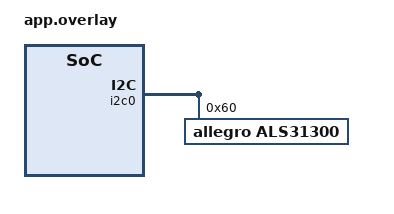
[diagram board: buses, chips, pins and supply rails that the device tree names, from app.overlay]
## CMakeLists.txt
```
# Copyright The Zephyr Project Contributors
# SPDX-License-Identifier: Apache-2.0

cmake_minimum_required(VERSION 3.28.0)
find_package(Zephyr REQUIRED HINTS $ENV{ZEPHYR_BASE})
project(als31300)

target_include_directories(app PRIVATE ${ZEPHYR_BASE}/drivers/sensor/als31300)
target_sources(app PRIVATE src/main.c)
```

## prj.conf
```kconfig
# Copyright The Zephyr Project Contributors
# SPDX-License-Identifier: Apache-2.0

CONFIG_ZTEST=y
CONFIG_SENSOR=y
CONFIG_SENSOR_ASYNC_API=y
CONFIG_EMUL=y
# The driver defines an I2C RTIO iodev
CONFIG_I2C_RTIO=y
# No emulator backs the device, only its decoder is tested
CONFIG_SENSOR_LOG_LEVEL_OFF=y
```

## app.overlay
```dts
/*
 * Copyright The Zephyr Project Contributors
 *
 * SPDX-License-Identifier: Apache-2.0
 */

&i2c0 {
	als31300: als31300@60 {
		compatible = "allegro,als31300";
		reg = <0x60>;
	};
};
```

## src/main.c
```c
/*
 * Copyright The Zephyr Project Contributors
 *
 * SPDX-License-Identifier: Apache-2.0
 */

#include <zephyr/drivers/sensor.h>
#include <zephyr/sys/byteorder.h>
#include <zephyr/ztest.h>

#include "als31300.h"

/* Allowed error of a decoded value, in micro-units (microgauss or micro-degrees Celsius) */
#define TOLERANCE_MICRO 100

#define TIMESTAMP_NS 1234567890123ULL

#define CHAN_BIT_X    BIT(0)
#define CHAN_BIT_Y    BIT(1)
#define CHAN_BIT_Z    BIT(2)
#define CHAN_BIT_TEMP BIT(3)
#define CHAN_BIT_ALL  (CHAN_BIT_X | CHAN_BIT_Y | CHAN_BIT_Z | CHAN_BIT_TEMP)

static const struct sensor_decoder_api *decoder = SENSOR_DECODER_DT_GET(DT_NODELABEL(als31300));

static const struct sensor_chan_spec chan_xyz = {SENSOR_CHAN_MAGN_XYZ, 0};
static const struct sensor_chan_spec chan_x = {SENSOR_CHAN_MAGN_X, 0};
static const struct sensor_chan_spec chan_y = {SENSOR_CHAN_MAGN_Y, 0};
static const struct sensor_chan_spec chan_z = {SENSOR_CHAN_MAGN_Z, 0};
static const struct sensor_chan_spec chan_temp = {SENSOR_CHAN_AMBIENT_TEMP, 0};

/* Encoded data at an odd address, to check that the decoder handles unaligned buffers */
static struct {
	uint8_t pad;
	struct als31300_encoded_data edata;
} __packed enc;

static const uint8_t *const buffer = (const uint8_t *)&enc.edata;

static int64_t q31_to_micro(q31_t value, int8_t shift)
{
	return ((int64_t)value * 1000000) >> (31 - shift);
}

static void check_magn(q31_t value, int8_t shift, int16_t raw)
{
	/* ALS31300-500: 4 LSB/G */
	int64_t expected = (int64_t)raw * 1000000 / 4;
	int64_t actual = q31_to_micro(value, shift);

	zassert_within(actual, expected, TOLERANCE_MICRO, "raw %d: got %lld, expected %lld", raw,
		       actual, expected);
}

static void check_temp(q31_t value, int8_t shift, uint16_t raw)
{
	/* T = 302 * (raw - 1708) / 4096 degrees Celsius */
	int64_t expected = (int64_t)302 * ((int32_t)raw - 1708) * 1000000 / 4096;
	int64_t actual = q31_to_micro(value, shift);

	zassert_within(actual, expected, TOLERANCE_MICRO, "raw %u: got %lld, expected %lld", raw,
		       actual, expected);
}

/* Fill the payload with registers 0x28 and 0x29 as read from the bus, MSB first */
static void fill(uint8_t channels, int16_t x, int16_t y, int16_t z, uint16_t temp)
{
	uint16_t ux = (uint16_t)x & 0xfffU;
	uint16_t uy = (uint16_t)y & 0xfffU;
	uint16_t uz = (uint16_t)z & 0xfffU;
	uint32_t reg28;
	uint32_t reg29;

	reg28 = FIELD_PREP(ALS31300_REG28_X_AXIS_MSB_MASK, ux >> 4) |
		FIELD_PREP(ALS31300_REG28_Y_AXIS_MSB_MASK, uy >> 4) |
		FIELD_PREP(ALS31300_REG28_Z_AXIS_MSB_MASK, uz >> 4) |
		FIELD_PREP(ALS31300_REG28_NEW_DATA_MASK, 1U) |
		FIELD_PREP(ALS31300_REG28_TEMP_MSB_MASK, temp >> 6);
	reg29 = FIELD_PREP(ALS31300_REG29_X_AXIS_LSB_MASK, ux & 0xfU) |
		FIELD_PREP(ALS31300_REG29_Y_AXIS_LSB_MASK, uy & 0xfU) |
		FIELD_PREP(ALS31300_REG29_Z_AXIS_LSB_MASK, uz & 0xfU) |
		FIELD_PREP(ALS31300_REG29_TEMP_LSB_MASK, temp & 0x3fU);

	memset(&enc, 0xa5, sizeof(enc));
	enc.edata.header.channels = channels;
	enc.edata.header.timestamp = TIMESTAMP_NS;
	sys_put_be32(reg28, &enc.edata.payload[0]);
	sys_put_be32(reg29, &enc.edata.payload[4]);
}

static void check_frame_count(struct sensor_chan_spec chan, int expected_rc)
{
	uint16_t frame_count = 0xffff;

	zassert_equal(decoder->get_frame_count(buffer, chan, &frame_count), expected_rc,
		      "channel %d", chan.chan_type);
	if (expected_rc == 0) {
		zassert_equal(frame_count, 1);
	}
}

static void check_unsupported(struct sensor_chan_spec chan)
{
	struct sensor_three_axis_data out;
	size_t base_size;
	size_t frame_size;
	uint16_t frame_count;
	uint32_t fit = 0;

	zassert_equal(decoder->get_size_info(chan, &base_size, &frame_size), -ENOTSUP,
		      "channel %d idx %d", chan.chan_type, chan.chan_idx);
	zassert_equal(decoder->get_frame_count(buffer, chan, &frame_count), -ENOTSUP,
		      "channel %d idx %d", chan.chan_type, chan.chan_idx);
	zassert_equal(decoder->decode(buffer, chan, &fit, 1, &out), -ENOTSUP, "channel %d idx %d",
		      chan.chan_type, chan.chan_idx);
}

/* Decode a single axis or the temperature, as a sensor_q31_data */
static q31_t decode_q31(struct sensor_chan_spec chan, int8_t *shift)
{
	struct sensor_q31_data out;
	uint32_t fit = 0;

	memset(&out, 0xa5, sizeof(out));
	zassert_equal(decoder->decode(buffer, chan, &fit, 1, &out), 1, "channel %d",
		      chan.chan_type);
	zassert_equal(out.header.reading_count, 1);
	zassert_equal(out.header.base_timestamp_ns + out.readings[0].timestamp_delta, TIMESTAMP_NS);
	zassert_equal(decoder->decode(buffer, chan, &fit, 1, &out), 0);
	*shift = out.shift;

	return out.readings[0].value;
}

static void check_sample(int16_t x, int16_t y, int16_t z, uint16_t temp)
{
	struct sensor_three_axis_data out;
	uint32_t fit = 0;
	int8_t shift;
	q31_t value;

	fill(CHAN_BIT_ALL, x, y, z, temp);

	memset(&out, 0xa5, sizeof(out));
	zassert_equal(decoder->decode(buffer, chan_xyz, &fit, 1, &out), 1);
	zassert_equal(out.header.reading_count, 1);
	zassert_equal(out.header.base_timestamp_ns, TIMESTAMP_NS);
	zassert_equal(out.readings[0].timestamp_delta, 0);
	zassert_equal(out.shift, 16);
	check_magn(out.readings[0].x, out.shift, x);
	check_magn(out.readings[0].y, out.shift, y);
	check_magn(out.readings[0].z, out.shift, z);

	value = decode_q31(chan_x, &shift);
	zassert_equal(shift, 16);
	check_magn(value, shift, x);

	value = decode_q31(chan_y, &shift);
	zassert_equal(shift, 16);
	check_magn(value, shift, y);

	value = decode_q31(chan_z, &shift);
	zassert_equal(shift, 16);
	check_magn(value, shift, z);

	value = decode_q31(chan_temp, &shift);
	zassert_equal(shift, 16);
	check_temp(value, shift, temp);
}

ZTEST(als31300_decoder, test_size_info)
{
	const struct sensor_chan_spec q31_chans[] = {chan_x, chan_y, chan_z, chan_temp};
	size_t base_size;
	size_t frame_size;

	zassert_ok(decoder->get_size_info(chan_xyz, &base_size, &frame_size));
	zassert_equal(base_size, sizeof(struct sensor_three_axis_data));
	zassert_equal(frame_size, sizeof(struct sensor_three_axis_sample_data));

	ARRAY_FOR_EACH(q31_chans, i) {
		zassert_ok(decoder->get_size_info(q31_chans[i], &base_size, &frame_size));
		zassert_equal(base_size, sizeof(struct sensor_q31_data));
		zassert_equal(frame_size, sizeof(struct sensor_q31_sample_data));
	}
}

ZTEST(als31300_decoder, test_values)
{
	check_sample(100, -200, 300, 1708);
	check_sample(-2048, 2047, -1, 0);
	check_sample(2047, -2048, 1, 4095);
	check_sample(0, 0, 0, 2048);
}

ZTEST(als31300_decoder, test_frame_count)
{
	fill(CHAN_BIT_ALL, 1, 2, 3, 1708);

	check_frame_count(chan_xyz, 0);
	check_frame_count(chan_x, 0);
	check_frame_count(chan_y, 0);
	check_frame_count(chan_z, 0);
	check_frame_count(chan_temp, 0);
}

ZTEST(als31300_decoder, test_channel_not_read)
{
	struct sensor_three_axis_data out;
	uint32_t fit = 0;
	int8_t shift;
	q31_t value;

	/* Only SENSOR_CHAN_MAGN_Y was requested in the read */
	fill(CHAN_BIT_Y, 10, -20, 30, 1708);

	check_frame_count(chan_y, 0);
	value = decode_q31(chan_y, &shift);
	check_magn(value, shift, -20);

	check_frame_count(chan_xyz, -ENODATA);
	check_frame_count(chan_x, -ENODATA);
	check_frame_count(chan_z, -ENODATA);
	check_frame_count(chan_temp, -ENODATA);

	zassert_equal(decoder->decode(buffer, chan_xyz, &fit, 1, &out), -ENODATA);
	zassert_equal(decoder->decode(buffer, chan_temp, &fit, 1, &out), -ENODATA);

	/* Only the temperature was requested */
	fill(CHAN_BIT_TEMP, 10, -20, 30, 1000);

	check_frame_count(chan_temp, 0);
	check_frame_count(chan_xyz, -ENODATA);
	value = decode_q31(chan_temp, &shift);
	check_temp(value, shift, 1000);
}

ZTEST(als31300_decoder, test_max_count)
{
	struct {
		struct sensor_three_axis_data data;
		struct sensor_three_axis_sample_data extra[3];
	} out;
	uint32_t fit = 0;

	fill(CHAN_BIT_ALL, -5, 6, -7, 1708);

	/* No reading fits */
	zassert_equal(decoder->decode(buffer, chan_xyz, &fit, 0, &out), 0);
	zassert_equal(fit, 0);

	/* All readings in one call */
	zassert_equal(decoder->decode(buffer, chan_xyz, &fit, 4, &out), 1);
	zassert_equal(out.data.header.reading_count, 1);
	zassert_equal(out.data.header.base_timestamp_ns, TIMESTAMP_NS);
	zassert_equal(out.data.readings[0].timestamp_delta, 0);
	check_magn(out.data.readings[0].x, out.data.shift, -5);
	check_magn(out.data.readings[0].y, out.data.shift, 6);
	check_magn(out.data.readings[0].z, out.data.shift, -7);
	zassert_equal(decoder->decode(buffer, chan_xyz, &fit, 4, &out), 0);
}

ZTEST(als31300_decoder, test_unsupported)
{
	fill(CHAN_BIT_ALL, 1, 2, 3, 1708);

	check_unsupported((struct sensor_chan_spec){SENSOR_CHAN_ACCEL_XYZ, 0});
	check_unsupported((struct sensor_chan_spec){SENSOR_CHAN_DIE_TEMP, 0});
	check_unsupported((struct sensor_chan_spec){SENSOR_CHAN_ALL, 0});
	check_unsupported((struct sensor_chan_spec){SENSOR_CHAN_MAGN_XYZ, 1});
	check_unsupported((struct sensor_chan_spec){SENSOR_CHAN_AMBIENT_TEMP, 1});
}

ZTEST(als31300_decoder, test_has_trigger)
{
	/* The driver has no trigger or stream support */
	zassert_is_null(decoder->has_trigger);
}

ZTEST_SUITE(als31300_decoder, NULL, NULL, NULL, NULL, NULL);
```
